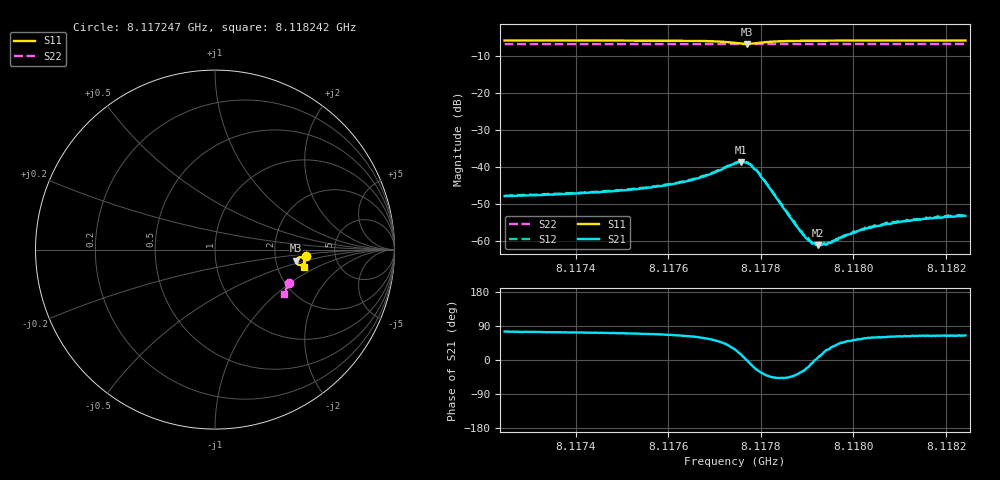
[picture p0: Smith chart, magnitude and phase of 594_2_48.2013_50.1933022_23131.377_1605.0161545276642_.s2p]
#  HZ  S  RI  R  50.00
! Rohde & Schwarz Vector Network Analyzer
! Rohde-Schwarz,ZNB20-2Port,1311601062101988,3.16
! Created: UTC 3/20/2024, 12:02:43 PM
! freq[Hz]  re:S11  im:S11  re:S21  im:S21  re:S12  im:S12  re:S22  im:S22
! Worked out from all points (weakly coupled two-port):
!   401 points, 8.117247 GHz to 8.118242 GHz, reference 50 ohm
!   highest |S21| = -38.63 dB at 8.117757 GHz (marker M1); lowest = -61.1 dB at 8.117923 GHz (marker M2)
!   lowest |S11| = -6.8 dB at 8.117769 GHz (marker M3), VSWR 2.68, Z = 130 - j20.5 ohm
!   |S11| at or under -10 dB: nowhere
!   |S22| runs from -6.9 to -6.8 dB; largest |S21 - S12| = 0.00046
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8.1172468e9  0.5055 -0.0343  0.00105 0.00393  0.00113 0.00399  0.4128 -0.1846
8.1174135e9  0.5038 -0.0486  0.0013 0.00426  0.00139 0.00431  0.4083 -0.1956
8.1174906e9  0.5027 -0.0558  0.00157 0.00453  0.00164 0.0046  0.4061 -0.2006
8.1175801e9  0.5 -0.0654  0.00208 0.00512  0.0022 0.0052  0.4033 -0.2064
8.1176174e9  0.498 -0.0701  0.00256 0.0055  0.00263 0.00555  0.4019 -0.2088
8.1176647e9  0.4937 -0.0774  0.0035 0.00615  0.00363 0.00625  0.4003 -0.212
8.117697e9  0.487 -0.0833  0.00501 0.00666  0.00513 0.00674  0.3992 -0.2141
8.1177443e9  0.4627 -0.0833  0.00992 0.00523  0.0102 0.00525  0.3967 -0.2165
8.1177567e9  0.4546 -0.0752  0.0113 0.00304  0.0115 0.00296  0.3961 -0.217
8.1177692e9  0.452 -0.0625  0.0114 -3.22e-05  0.0117 -8.21e-05  0.3957 -0.2169
8.1177791e9  0.4556 -0.052  0.0104 -0.00227  0.0104 -0.00238  0.3958 -0.2171
8.1177941e9  0.4671 -0.0433  0.00744 -0.00395  0.00762 -0.00403  0.396 -0.2179
8.1178811e9  0.4971 -0.0593  0.0012 -0.000882  0.00126 -0.00093  0.3944 -0.224
8.117896e9  0.498 -0.0621  0.00103 -0.000477  0.00105 -0.000474  0.3941 -0.2249
8.117911e9  0.4987 -0.0648  0.000917 -0.00014  0.000939 -0.000138  0.3935 -0.2261
8.1179234e9  0.499 -0.0668  0.000876 9.69e-05  0.000913 0.000105  0.3931 -0.2268
8.1179358e9  0.4993 -0.0685  0.000854 0.000317  0.000917 0.000278  0.3927 -0.2277
8.1179756e9  0.4993 -0.0737  0.000807 0.000806  0.000819 0.000791  0.3915 -0.2302
8.1180154e9  0.4992 -0.0782  0.000823 0.00116  0.00083 0.00116  0.39 -0.2329
8.1180776e9  0.4984 -0.0844  0.000834 0.00151  0.000852 0.00154  0.3879 -0.2365
8.1181647e9  0.4974 -0.0922  0.000902 0.00184  0.000924 0.0019  0.3849 -0.2419
8.1182418e9  0.4962 -0.0987  0.000927 0.002  0.000938 0.00207  0.3821 -0.2468
